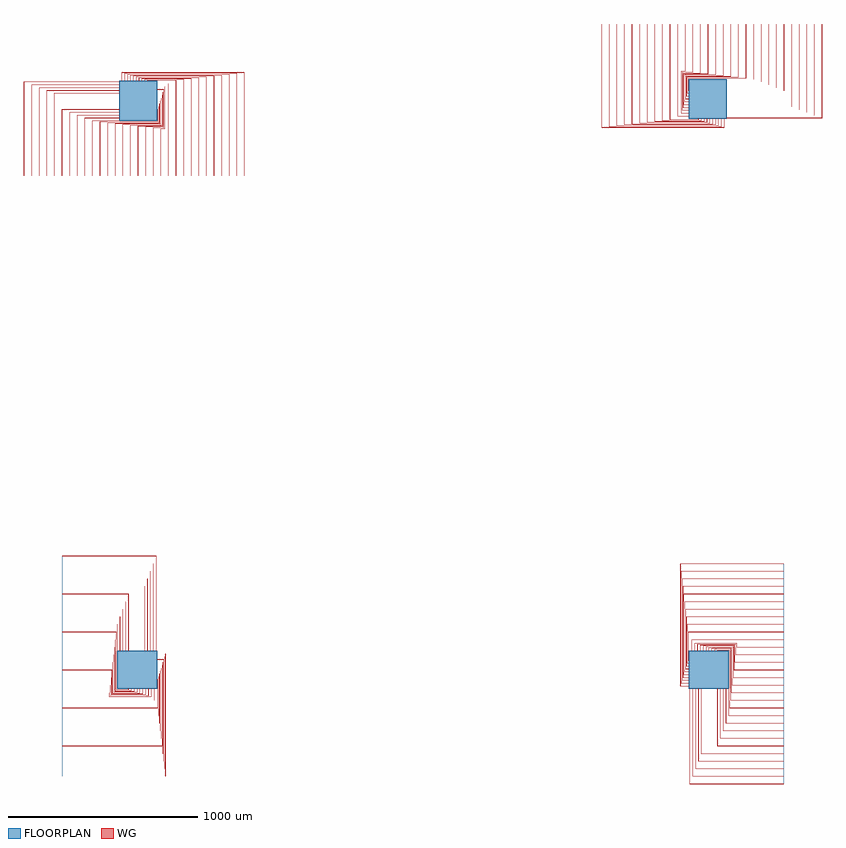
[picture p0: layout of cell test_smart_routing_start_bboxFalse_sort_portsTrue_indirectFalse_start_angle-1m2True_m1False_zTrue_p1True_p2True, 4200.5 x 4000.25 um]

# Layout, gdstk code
import gdstk
lib = gdstk.Library(unit=1e-6, precision=1e-09)
def R(c, l, rs):  # rectangles x0, y0, x1, y1
    for r in rs: c.add(gdstk.rectangle(r[:2], r[2:], *l))
def P(c, l, *ps):  # polygons
    for p in ps: c.add(gdstk.Polygon(p, *l))
WG = (1, 0)
FLOORPLAN = (10, 0)

test_smart_routing_start = lib.new_cell('test_smart_routing_start_bboxFalse_sort_portsTrue_indirectFalse_start_angle-1m2True_m1False_zTrue_p1True_p2True')
P(test_smart_routing_start, WG, [(3100,2905.05),(3100,2905.25),(3599.75,2905.25),(3599.75,3400),(3599.95,3400),(3599.95,2905.05)],
  [(3100,2904.75),(3100,2904.95),(3600.05,2904.95),(3600.05,3400),(3600.25,3400),(3600.25,2904.75)],
  [(3100,2920.05),(3100,2920.25),(3559.75,2920.25),(3559.75,3400),(3559.95,3400),(3559.95,2920.05)],
  [(3100,2919.75),(3100,2919.95),(3560.05,2919.95),(3560.05,3400),(3560.25,3400),(3560.25,2919.75)],
  [(3100,2935.05),(3100,2935.25),(3519.75,2935.25),(3519.75,3400),(3519.95,3400),(3519.95,2935.05)],
  [(3100,2934.75),(3100,2934.95),(3520.05,2934.95),(3520.05,3400),(3520.25,3400),(3520.25,2934.75)],
  [(3100,2950.05),(3100,2950.25),(3479.75,2950.25),(3479.75,3400),(3479.95,3400),(3479.95,2950.05)],
  [(3100,2949.75),(3100,2949.95),(3480.05,2949.95),(3480.05,3400),(3480.25,3400),(3480.25,2949.75)],
  [(3100,2965.05),(3100,2965.25),(3439.75,2965.25),(3439.75,3400),(3439.95,3400),(3439.95,2965.05)],
  [(3100,2964.75),(3100,2964.95),(3440.05,2964.95),(3440.05,3400),(3440.25,3400),(3440.25,2964.75)],
  [(3100,3050.05),(3100,3050.25),(3399.75,3050.25),(3399.75,3400),(3399.95,3400),(3399.95,3050.05)],
  [(3100,3049.75),(3100,3049.95),(3400.05,3049.95),(3400.05,3400),(3400.25,3400),(3400.25,3049.75)],
  [(3100,3065.05),(3100,3065.25),(3359.75,3065.25),(3359.75,3400),(3359.95,3400),(3359.95,3065.05)],
  [(3100,3064.75),(3100,3064.95),(3360.05,3064.95),(3360.05,3400),(3360.25,3400),(3360.25,3064.75)],
  [(3100,3080.05),(3100,3080.25),(3319.75,3080.25),(3319.75,3400),(3319.95,3400),(3319.95,3080.05)],
  [(3100,3079.75),(3100,3079.95),(3320.05,3079.95),(3320.05,3400),(3320.25,3400),(3320.25,3079.75)],
  [(3100,3095.05),(3100,3095.25),(3279.75,3095.25),(3279.75,3400),(3279.95,3400),(3279.95,3095.05)],
  [(3100,3094.75),(3100,3094.95),(3280.05,3094.95),(3280.05,3400),(3280.25,3400),(3280.25,3094.75)],
  [(3100,3110.05),(3100,3110.25),(3239.75,3110.25),(3239.75,3400),(3239.95,3400),(3239.95,3110.05)],
  [(3100,3109.75),(3100,3109.95),(3240.05,3109.95),(3240.05,3400),(3240.25,3400),(3240.25,3109.75)],
  [(2895.5,3049.75),(2895.5,3114.75),(3199.75,3114.75),(3199.75,3400),(3199.95,3400),(3199.95,3114.55),(2895.7,3114.55),(2895.7,3049.95),(2900,3049.95),(2900,3049.75)],
  [(2895.8,3050.05),(2895.8,3114.45),(3200.05,3114.45),(3200.05,3400),(3200.25,3400),(3200.25,3114.25),(2896,3114.25),(2896,3050.25),(2900,3050.25),(2900,3050.05)],
  [(2891,3034.75),(2891,3119.25),(3159.75,3119.25),(3159.75,3400),(3159.95,3400),(3159.95,3119.05),(2891.2,3119.05),(2891.2,3034.95),(2900,3034.95),(2900,3034.75)],
  [(2891.3,3035.05),(2891.3,3118.95),(3160.05,3118.95),(3160.05,3400),(3160.25,3400),(3160.25,3118.75),(2891.5,3118.75),(2891.5,3035.25),(2900,3035.25),(2900,3035.05)],
  [(2886.5,3019.75),(2886.5,3123.75),(3119.75,3123.75),(3119.75,3400),(3119.95,3400),(3119.95,3123.55),(2886.7,3123.55),(2886.7,3019.95),(2900,3019.95),(2900,3019.75)],
  [(2886.8,3020.05),(2886.8,3123.45),(3120.05,3123.45),(3120.05,3400),(3120.25,3400),(3120.25,3123.25),(2887,3123.25),(2887,3020.25),(2900,3020.25),(2900,3020.05)],
  [(2882,3004.75),(2882,3128.25),(3079.75,3128.25),(3079.75,3400),(3079.95,3400),(3079.95,3128.05),(2882.2,3128.05),(2882.2,3004.95),(2900,3004.95),(2900,3004.75)],
  [(2882.3,3005.05),(2882.3,3127.95),(3080.05,3127.95),(3080.05,3400),(3080.25,3400),(3080.25,3127.75),(2882.5,3127.75),(2882.5,3005.25),(2900,3005.25),(2900,3005.05)],
  [(2877.5,2989.75),(2877.5,3132.75),(3039.75,3132.75),(3039.75,3400),(3039.95,3400),(3039.95,3132.55),(2877.7,3132.55),(2877.7,2989.95),(2900,2989.95),(2900,2989.75)],
  [(2877.8,2990.05),(2877.8,3132.45),(3040.05,3132.45),(3040.05,3400),(3040.25,3400),(3040.25,3132.25),(2878,3132.25),(2878,2990.25),(2900,2990.25),(2900,2990.05)],
  [(2873,2974.75),(2873,3137.25),(2999.75,3137.25),(2999.75,3400),(2999.95,3400),(2999.95,3137.05),(2873.2,3137.05),(2873.2,2974.95),(2900,2974.95),(2900,2974.75)],
  [(2873.3,2975.05),(2873.3,3136.95),(3000.05,3136.95),(3000.05,3400),(3000.25,3400),(3000.25,3136.75),(2873.5,3136.75),(2873.5,2975.25),(2900,2975.25),(2900,2975.05)],
  [(2868.5,2959.75),(2868.5,3141.75),(2959.75,3141.75),(2959.75,3400),(2959.95,3400),(2959.95,3141.55),(2868.7,3141.55),(2868.7,2959.95),(2900,2959.95),(2900,2959.75)],
  [(2868.8,2960.05),(2868.8,3141.45),(2960.05,3141.45),(2960.05,3400),(2960.25,3400),(2960.25,3141.25),(2869,3141.25),(2869,2960.25),(2900,2960.25),(2900,2960.05)],
  [(2864,2944.75),(2864,3146.25),(2919.75,3146.25),(2919.75,3400),(2919.95,3400),(2919.95,3146.05),(2864.2,3146.05),(2864.2,2944.95),(2900,2944.95),(2900,2944.75)],
  [(2864.3,2945.05),(2864.3,3145.95),(2920.05,3145.95),(2920.05,3400),(2920.25,3400),(2920.25,3145.75),(2864.5,3145.75),(2864.5,2945.25),(2900,2945.25),(2900,2945.05)],
  [(2859.5,2929.75),(2859.5,3150.75),(2879.75,3150.75),(2879.75,3400),(2879.95,3400),(2879.95,3150.55),(2859.7,3150.55),(2859.7,2929.95),(2900,2929.95),(2900,2929.75)],
  [(2859.8,2930.05),(2859.8,3150.45),(2880.05,3150.45),(2880.05,3400),(2880.25,3400),(2880.25,3150.25),(2860,3150.25),(2860,2930.25),(2900,2930.25),(2900,2930.05)],
  [(2839.75,2914.75),(2839.75,3400),(2839.95,3400),(2839.95,2914.95),(2900,2914.95),(2900,2914.75)],
  [(2840.05,2915.05),(2840.05,3400),(2840.25,3400),(2840.25,2915.25),(2900,2915.25),(2900,2915.05)],
  [(2799.75,2895.5),(2799.75,3400),(2799.95,3400),(2799.95,2895.7),(2950.05,2895.7),(2950.05,2900),(2950.25,2900),(2950.25,2895.5)],
  [(2800.05,2895.8),(2800.05,3400),(2800.25,3400),(2800.25,2896),(2949.75,2896),(2949.75,2900),(2949.95,2900),(2949.95,2895.8)],
  [(2759.75,2891),(2759.75,3400),(2759.95,3400),(2759.95,2891.2),(2965.05,2891.2),(2965.05,2900),(2965.25,2900),(2965.25,2891)],
  [(2760.05,2891.3),(2760.05,3400),(2760.25,3400),(2760.25,2891.5),(2964.75,2891.5),(2964.75,2900),(2964.95,2900),(2964.95,2891.3)],
  [(2719.75,2886.5),(2719.75,3400),(2719.95,3400),(2719.95,2886.7),(2980.05,2886.7),(2980.05,2900),(2980.25,2900),(2980.25,2886.5)],
  [(2720.05,2886.8),(2720.05,3400),(2720.25,3400),(2720.25,2887),(2979.75,2887),(2979.75,2900),(2979.95,2900),(2979.95,2886.8)],
  [(2679.75,2882),(2679.75,3400),(2679.95,3400),(2679.95,2882.2),(2995.05,2882.2),(2995.05,2900),(2995.25,2900),(2995.25,2882)],
  [(2680.05,2882.3),(2680.05,3400),(2680.25,3400),(2680.25,2882.5),(2994.75,2882.5),(2994.75,2900),(2994.95,2900),(2994.95,2882.3)],
  [(2639.75,2877.5),(2639.75,3400),(2639.95,3400),(2639.95,2877.7),(3010.05,2877.7),(3010.05,2900),(3010.25,2900),(3010.25,2877.5)],
  [(2640.05,2877.8),(2640.05,3400),(2640.25,3400),(2640.25,2878),(3009.75,2878),(3009.75,2900),(3009.95,2900),(3009.95,2877.8)],
  [(2599.75,2873),(2599.75,3400),(2599.95,3400),(2599.95,2873.2),(3025.05,2873.2),(3025.05,2900),(3025.25,2900),(3025.25,2873)],
  [(2600.05,2873.3),(2600.05,3400),(2600.25,3400),(2600.25,2873.5),(3024.75,2873.5),(3024.75,2900),(3024.95,2900),(3024.95,2873.3)],
  [(2559.75,2868.5),(2559.75,3400),(2559.95,3400),(2559.95,2868.7),(3040.05,2868.7),(3040.05,2900),(3040.25,2900),(3040.25,2868.5)],
  [(2560.05,2868.8),(2560.05,3400),(2560.25,3400),(2560.25,2869),(3039.75,2869),(3039.75,2900),(3039.95,2900),(3039.95,2868.8)],
  [(2519.75,2864),(2519.75,3400),(2519.95,3400),(2519.95,2864.2),(3055.05,2864.2),(3055.05,2900),(3055.25,2900),(3055.25,2864)],
  [(2520.05,2864.3),(2520.05,3400),(2520.25,3400),(2520.25,2864.5),(3054.75,2864.5),(3054.75,2900),(3054.95,2900),(3054.95,2864.3)],
  [(2479.75,2859.5),(2479.75,3400),(2479.95,3400),(2479.95,2859.7),(3070.05,2859.7),(3070.05,2900),(3070.25,2900),(3070.25,2859.5)],
  [(2480.05,2859.8),(2480.05,3400),(2480.25,3400),(2480.25,2860),(3069.75,2860),(3069.75,2900),(3069.95,2900),(3069.95,2859.8)],
  [(2439.75,2855),(2439.75,3400),(2439.95,3400),(2439.95,2855.2),(3085.05,2855.2),(3085.05,2900),(3085.25,2900),(3085.25,2855)],
  [(2440.05,2855.3),(2440.05,3400),(2440.25,3400),(2440.25,2855.5),(3084.75,2855.5),(3084.75,2900),(3084.95,2900),(3084.95,2855.3)],
  [(-599.95,2600),(-599.95,3094.95),(-100,3094.95),(-100,3094.75),(-599.75,3094.75),(-599.75,2600)],
  [(-600.25,2600),(-600.25,3095.25),(-100,3095.25),(-100,3095.05),(-600.05,3095.05),(-600.05,2600)],
  [(-559.95,2600),(-559.95,3079.95),(-100,3079.95),(-100,3079.75),(-559.75,3079.75),(-559.75,2600)],
  [(-560.25,2600),(-560.25,3080.25),(-100,3080.25),(-100,3080.05),(-560.05,3080.05),(-560.05,2600)],
  [(-519.95,2600),(-519.95,3064.95),(-100,3064.95),(-100,3064.75),(-519.75,3064.75),(-519.75,2600)],
  [(-520.25,2600),(-520.25,3065.25),(-100,3065.25),(-100,3065.05),(-520.05,3065.05),(-520.05,2600)],
  [(-479.95,2600),(-479.95,3049.95),(-100,3049.95),(-100,3049.75),(-479.75,3049.75),(-479.75,2600)],
  [(-480.25,2600),(-480.25,3050.25),(-100,3050.25),(-100,3050.05),(-480.05,3050.05),(-480.05,2600)],
  [(-439.95,2600),(-439.95,3034.95),(-100,3034.95),(-100,3034.75),(-439.75,3034.75),(-439.75,2600)],
  [(-440.25,2600),(-440.25,3035.25),(-100,3035.25),(-100,3035.05),(-440.05,3035.05),(-440.05,2600)],
  [(-399.95,2600),(-399.95,2949.95),(-100,2949.95),(-100,2949.75),(-399.75,2949.75),(-399.75,2600)],
  [(-400.25,2600),(-400.25,2950.25),(-100,2950.25),(-100,2950.05),(-400.05,2950.05),(-400.05,2600)],
  [(-359.95,2600),(-359.95,2934.95),(-100,2934.95),(-100,2934.75),(-359.75,2934.75),(-359.75,2600)],
  [(-360.25,2600),(-360.25,2935.25),(-100,2935.25),(-100,2935.05),(-360.05,2935.05),(-360.05,2600)],
  [(-319.95,2600),(-319.95,2919.95),(-100,2919.95),(-100,2919.75),(-319.75,2919.75),(-319.75,2600)],
  [(-320.25,2600),(-320.25,2920.25),(-100,2920.25),(-100,2920.05),(-320.05,2920.05),(-320.05,2600)],
  [(-279.95,2600),(-279.95,2904.95),(-100,2904.95),(-100,2904.75),(-279.75,2904.75),(-279.75,2600)],
  [(-280.25,2600),(-280.25,2905.25),(-100,2905.25),(-100,2905.05),(-280.05,2905.05),(-280.05,2600)],
  [(-239.95,2600),(-239.95,2889.95),(-100,2889.95),(-100,2889.75),(-239.75,2889.75),(-239.75,2600)],
  [(-240.25,2600),(-240.25,2890.25),(-100,2890.25),(-100,2890.05),(-240.05,2890.05),(-240.05,2600)],
  [(-200.25,2600),(-200.25,2885.75),(104,2885.75),(104,2949.75),(100,2949.75),(100,2949.95),(104.2,2949.95),(104.2,2885.55),(-200.05,2885.55),(-200.05,2600)],
  [(-199.95,2600),(-199.95,2885.45),(104.3,2885.45),(104.3,2950.05),(100,2950.05),(100,2950.25),(104.5,2950.25),(104.5,2885.25),(-199.75,2885.25),(-199.75,2600)],
  [(-160.25,2600),(-160.25,2881.25),(108.5,2881.25),(108.5,2964.75),(100,2964.75),(100,2964.95),(108.7,2964.95),(108.7,2881.05),(-160.05,2881.05),(-160.05,2600)],
  [(-159.95,2600),(-159.95,2880.95),(108.8,2880.95),(108.8,2965.05),(100,2965.05),(100,2965.25),(109,2965.25),(109,2880.75),(-159.75,2880.75),(-159.75,2600)],
  [(-120.25,2600),(-120.25,2876.75),(113,2876.75),(113,2979.75),(100,2979.75),(100,2979.95),(113.2,2979.95),(113.2,2876.55),(-120.05,2876.55),(-120.05,2600)],
  [(-119.95,2600),(-119.95,2876.45),(113.3,2876.45),(113.3,2980.05),(100,2980.05),(100,2980.25),(113.5,2980.25),(113.5,2876.25),(-119.75,2876.25),(-119.75,2600)],
  [(-80.25,2600),(-80.25,2872.25),(117.5,2872.25),(117.5,2994.75),(100,2994.75),(100,2994.95),(117.7,2994.95),(117.7,2872.05),(-80.05,2872.05),(-80.05,2600)],
  [(-79.95,2600),(-79.95,2871.95),(117.8,2871.95),(117.8,2995.05),(100,2995.05),(100,2995.25),(118,2995.25),(118,2871.75),(-79.75,2871.75),(-79.75,2600)],
  [(-40.25,2600),(-40.25,2867.75),(122,2867.75),(122,3009.75),(100,3009.75),(100,3009.95),(122.2,3009.95),(122.2,2867.55),(-40.05,2867.55),(-40.05,2600)],
  [(-39.95,2600),(-39.95,2867.45),(122.3,2867.45),(122.3,3010.05),(100,3010.05),(100,3010.25),(122.5,3010.25),(122.5,2867.25),(-39.75,2867.25),(-39.75,2600)],
  [(-0.25,2600),(-0.25,2863.25),(126.5,2863.25),(126.5,3024.75),(100,3024.75),(100,3024.95),(126.7,3024.95),(126.7,2863.05),(-0.05,2863.05),(-0.05,2600)],
  [(0.05,2600),(0.05,2862.95),(126.8,2862.95),(126.8,3025.05),(100,3025.05),(100,3025.25),(127,3025.25),(127,2862.75),(0.25,2862.75),(0.25,2600)],
  [(39.75,2600),(39.75,2858.75),(131,2858.75),(131,3039.75),(100,3039.75),(100,3039.95),(131.2,3039.95),(131.2,2858.55),(39.95,2858.55),(39.95,2600)],
  [(40.05,2600),(40.05,2858.45),(131.3,2858.45),(131.3,3040.05),(100,3040.05),(100,3040.25),(131.5,3040.25),(131.5,2858.25),(40.25,2858.25),(40.25,2600)],
  [(79.75,2600),(79.75,2854.25),(135.5,2854.25),(135.5,3054.75),(100,3054.75),(100,3054.95),(135.7,3054.95),(135.7,2854.05),(79.95,2854.05),(79.95,2600)],
  [(80.05,2600),(80.05,2853.95),(135.8,2853.95),(135.8,3055.05),(100,3055.05),(100,3055.25),(136,3055.25),(136,2853.75),(80.25,2853.75),(80.25,2600)],
  [(119.75,2600),(119.75,2849.75),(140,2849.75),(140,3069.75),(100,3069.75),(100,3069.95),(140.2,3069.95),(140.2,2849.55),(119.95,2849.55),(119.95,2600)],
  [(120.05,2600),(120.05,2849.45),(140.3,2849.45),(140.3,3070.05),(100,3070.05),(100,3070.25),(140.5,3070.25),(140.5,2849.25),(120.25,2849.25),(120.25,2600)],
  [(159.75,2600),(159.75,3084.75),(100,3084.75),(100,3084.95),(159.95,3084.95),(159.95,2600)],
  [(160.05,2600),(160.05,3085.05),(100,3085.05),(100,3085.25),(160.25,3085.25),(160.25,2600)],
  [(199.75,2600),(199.75,3104),(50.25,3104),(50.25,3100),(50.05,3100),(50.05,3104.2),(199.95,3104.2),(199.95,2600)],
  [(200.05,2600),(200.05,3104.3),(49.95,3104.3),(49.95,3100),(49.75,3100),(49.75,3104.5),(200.25,3104.5),(200.25,2600)],
  [(239.75,2600),(239.75,3108.5),(35.25,3108.5),(35.25,3100),(35.05,3100),(35.05,3108.7),(239.95,3108.7),(239.95,2600)],
  [(240.05,2600),(240.05,3108.8),(34.95,3108.8),(34.95,3100),(34.75,3100),(34.75,3109),(240.25,3109),(240.25,2600)],
  [(279.75,2600),(279.75,3113),(20.25,3113),(20.25,3100),(20.05,3100),(20.05,3113.2),(279.95,3113.2),(279.95,2600)],
  [(280.05,2600),(280.05,3113.3),(19.95,3113.3),(19.95,3100),(19.75,3100),(19.75,3113.5),(280.25,3113.5),(280.25,2600)],
  [(319.75,2600),(319.75,3117.5),(5.25,3117.5),(5.25,3100),(5.05,3100),(5.05,3117.7),(319.95,3117.7),(319.95,2600)],
  [(320.05,2600),(320.05,3117.8),(4.95,3117.8),(4.95,3100),(4.75,3100),(4.75,3118),(320.25,3118),(320.25,2600)],
  [(359.75,2600),(359.75,3122),(-9.75,3122),(-9.75,3100),(-9.95,3100),(-9.95,3122.2),(359.95,3122.2),(359.95,2600)],
  [(360.05,2600),(360.05,3122.3),(-10.05,3122.3),(-10.05,3100),(-10.25,3100),(-10.25,3122.5),(360.25,3122.5),(360.25,2600)],
  [(399.75,2600),(399.75,3126.5),(-24.75,3126.5),(-24.75,3100),(-24.95,3100),(-24.95,3126.7),(399.95,3126.7),(399.95,2600)],
  [(400.05,2600),(400.05,3126.8),(-25.05,3126.8),(-25.05,3100),(-25.25,3100),(-25.25,3127),(400.25,3127),(400.25,2600)],
  [(439.75,2600),(439.75,3131),(-39.75,3131),(-39.75,3100),(-39.95,3100),(-39.95,3131.2),(439.95,3131.2),(439.95,2600)],
  [(440.05,2600),(440.05,3131.3),(-40.05,3131.3),(-40.05,3100),(-40.25,3100),(-40.25,3131.5),(440.25,3131.5),(440.25,2600)],
  [(479.75,2600),(479.75,3135.5),(-54.75,3135.5),(-54.75,3100),(-54.95,3100),(-54.95,3135.7),(479.95,3135.7),(479.95,2600)],
  [(480.05,2600),(480.05,3135.8),(-55.05,3135.8),(-55.05,3100),(-55.25,3100),(-55.25,3136),(480.25,3136),(480.25,2600)],
  [(519.75,2600),(519.75,3140),(-69.75,3140),(-69.75,3100),(-69.95,3100),(-69.95,3140.2),(519.95,3140.2),(519.95,2600)],
  [(520.05,2600),(520.05,3140.3),(-70.05,3140.3),(-70.05,3100),(-70.25,3100),(-70.25,3140.5),(520.25,3140.5),(520.25,2600)],
  [(559.75,2600),(559.75,3144.5),(-84.75,3144.5),(-84.75,3100),(-84.95,3100),(-84.95,3144.7),(559.95,3144.7),(559.95,2600)],
  [(560.05,2600),(560.05,3144.8),(-85.05,3144.8),(-85.05,3100),(-85.25,3100),(-85.25,3145),(560.25,3145),(560.25,2600)],
  [(94.75,100),(94.75,599.75),(-400,599.75),(-400,599.95),(94.95,599.95),(94.95,100)],
  [(95.05,100),(95.05,600.05),(-400,600.05),(-400,600.25),(95.25,600.25),(95.25,100)],
  [(79.75,100),(79.75,559.75),(-400,559.75),(-400,559.95),(79.95,559.95),(79.95,100)],
  [(80.05,100),(80.05,560.05),(-400,560.05),(-400,560.25),(80.25,560.25),(80.25,100)],
  [(64.75,100),(64.75,519.75),(-400,519.75),(-400,519.95),(64.95,519.95),(64.95,100)],
  [(65.05,100),(65.05,520.05),(-400,520.05),(-400,520.25),(65.25,520.25),(65.25,100)],
  [(49.75,100),(49.75,479.75),(-400,479.75),(-400,479.95),(49.95,479.95),(49.95,100)],
  [(50.05,100),(50.05,480.05),(-400,480.05),(-400,480.25),(50.25,480.25),(50.25,100)],
  [(34.75,100),(34.75,439.75),(-400,439.75),(-400,439.95),(34.95,439.95),(34.95,100)],
  [(35.05,100),(35.05,440.05),(-400,440.05),(-400,440.25),(35.25,440.25),(35.25,100)],
  [(-50.25,100),(-50.25,399.75),(-400,399.75),(-400,399.95),(-50.05,399.95),(-50.05,100)],
  [(-49.95,100),(-49.95,400.05),(-400,400.05),(-400,400.25),(-49.75,400.25),(-49.75,100)],
  [(-65.25,100),(-65.25,359.75),(-400,359.75),(-400,359.95),(-65.05,359.95),(-65.05,100)],
  [(-64.95,100),(-64.95,360.05),(-400,360.05),(-400,360.25),(-64.75,360.25),(-64.75,100)],
  [(-80.25,100),(-80.25,319.75),(-400,319.75),(-400,319.95),(-80.05,319.95),(-80.05,100)],
  [(-79.95,100),(-79.95,320.05),(-400,320.05),(-400,320.25),(-79.75,320.25),(-79.75,100)],
  [(-95.25,100),(-95.25,279.75),(-400,279.75),(-400,279.95),(-95.05,279.95),(-95.05,100)],
  [(-94.95,100),(-94.95,280.05),(-400,280.05),(-400,280.25),(-94.75,280.25),(-94.75,100)],
  [(-110.25,100),(-110.25,239.75),(-400,239.75),(-400,239.95),(-110.05,239.95),(-110.05,100)],
  [(-109.95,100),(-109.95,240.05),(-400,240.05),(-400,240.25),(-109.75,240.25),(-109.75,100)],
  [(-114.75,-104.5),(-114.75,199.75),(-400,199.75),(-400,199.95),(-114.55,199.95),(-114.55,-104.3),(-49.95,-104.3),(-49.95,-100),(-49.75,-100),(-49.75,-104.5)],
  [(-114.45,-104.2),(-114.45,200.05),(-400,200.05),(-400,200.25),(-114.25,200.25),(-114.25,-104),(-50.25,-104),(-50.25,-100),(-50.05,-100),(-50.05,-104.2)],
  [(-119.25,-109),(-119.25,159.75),(-400,159.75),(-400,159.95),(-119.05,159.95),(-119.05,-108.8),(-34.95,-108.8),(-34.95,-100),(-34.75,-100),(-34.75,-109)],
  [(-118.95,-108.7),(-118.95,160.05),(-400,160.05),(-400,160.25),(-118.75,160.25),(-118.75,-108.5),(-35.25,-108.5),(-35.25,-100),(-35.05,-100),(-35.05,-108.7)],
  [(-123.75,-113.5),(-123.75,119.75),(-400,119.75),(-400,119.95),(-123.55,119.95),(-123.55,-113.3),(-19.95,-113.3),(-19.95,-100),(-19.75,-100),(-19.75,-113.5)],
  [(-123.45,-113.2),(-123.45,120.05),(-400,120.05),(-400,120.25),(-123.25,120.25),(-123.25,-113),(-20.25,-113),(-20.25,-100),(-20.05,-100),(-20.05,-113.2)],
  [(-128.25,-118),(-128.25,79.75),(-400,79.75),(-400,79.95),(-128.05,79.95),(-128.05,-117.8),(-4.95,-117.8),(-4.95,-100),(-4.75,-100),(-4.75,-118)],
  [(-127.95,-117.7),(-127.95,80.05),(-400,80.05),(-400,80.25),(-127.75,80.25),(-127.75,-117.5),(-5.25,-117.5),(-5.25,-100),(-5.05,-100),(-5.05,-117.7)],
  [(-132.75,-122.5),(-132.75,39.75),(-400,39.75),(-400,39.95),(-132.55,39.95),(-132.55,-122.3),(10.05,-122.3),(10.05,-100),(10.25,-100),(10.25,-122.5)],
  [(-132.45,-122.2),(-132.45,40.05),(-400,40.05),(-400,40.25),(-132.25,40.25),(-132.25,-122),(9.75,-122),(9.75,-100),(9.95,-100),(9.95,-122.2)],
  [(-137.25,-127),(-137.25,-0.25),(-400,-0.25),(-400,-0.05),(-137.05,-0.05),(-137.05,-126.8),(25.05,-126.8),(25.05,-100),(25.25,-100),(25.25,-127)],
  [(-136.95,-126.7),(-136.95,0.05),(-400,0.05),(-400,0.25),(-136.75,0.25),(-136.75,-126.5),(24.75,-126.5),(24.75,-100),(24.95,-100),(24.95,-126.7)],
  [(-141.75,-131.5),(-141.75,-40.25),(-400,-40.25),(-400,-40.05),(-141.55,-40.05),(-141.55,-131.3),(40.05,-131.3),(40.05,-100),(40.25,-100),(40.25,-131.5)],
  [(-141.45,-131.2),(-141.45,-39.95),(-400,-39.95),(-400,-39.75),(-141.25,-39.75),(-141.25,-131),(39.75,-131),(39.75,-100),(39.95,-100),(39.95,-131.2)],
  [(-146.25,-136),(-146.25,-80.25),(-400,-80.25),(-400,-80.05),(-146.05,-80.05),(-146.05,-135.8),(55.05,-135.8),(55.05,-100),(55.25,-100),(55.25,-136)],
  [(-145.95,-135.7),(-145.95,-79.95),(-400,-79.95),(-400,-79.75),(-145.75,-79.75),(-145.75,-135.5),(54.75,-135.5),(54.75,-100),(54.95,-100),(54.95,-135.7)],
  [(-150.45,-140.2),(-150.45,-119.95),(-400,-119.95),(-400,-119.75),(-150.25,-119.75),(-150.25,-140),(69.75,-140),(69.75,-100),(69.95,-100),(69.95,-140.2)],
  [(-150.75,-140.5),(-150.75,-120.25),(-400,-120.25),(-400,-120.05),(-150.55,-120.05),(-150.55,-140.3),(70.05,-140.3),(70.05,-100),(70.25,-100),(70.25,-140.5)],
  [(-400,-159.95),(-400,-159.75),(84.75,-159.75),(84.75,-100),(84.95,-100),(84.95,-159.95)],
  [(-400,-160.25),(-400,-160.05),(85.05,-160.05),(85.05,-100),(85.25,-100),(85.25,-160.25)],
  [(-400,-199.95),(-400,-199.75),(104,-199.75),(104,-50.25),(100,-50.25),(100,-50.05),(104.2,-50.05),(104.2,-199.95)],
  [(-400,-200.25),(-400,-200.05),(104.3,-200.05),(104.3,-49.95),(100,-49.95),(100,-49.75),(104.5,-49.75),(104.5,-200.25)],
  [(-400,-239.95),(-400,-239.75),(108.5,-239.75),(108.5,-35.25),(100,-35.25),(100,-35.05),(108.7,-35.05),(108.7,-239.95)],
  [(-400,-240.25),(-400,-240.05),(108.8,-240.05),(108.8,-34.95),(100,-34.95),(100,-34.75),(109,-34.75),(109,-240.25)],
  [(-400,-279.95),(-400,-279.75),(113,-279.75),(113,-20.25),(100,-20.25),(100,-20.05),(113.2,-20.05),(113.2,-279.95)],
  [(-400,-280.25),(-400,-280.05),(113.3,-280.05),(113.3,-19.95),(100,-19.95),(100,-19.75),(113.5,-19.75),(113.5,-280.25)],
  [(-400,-319.95),(-400,-319.75),(117.5,-319.75),(117.5,-5.25),(100,-5.25),(100,-5.05),(117.7,-5.05),(117.7,-319.95)],
  [(-400,-320.25),(-400,-320.05),(117.8,-320.05),(117.8,-4.95),(100,-4.95),(100,-4.75),(118,-4.75),(118,-320.25)],
  [(-400,-359.95),(-400,-359.75),(122,-359.75),(122,9.75),(100,9.75),(100,9.95),(122.2,9.95),(122.2,-359.95)],
  [(-400,-360.25),(-400,-360.05),(122.3,-360.05),(122.3,10.05),(100,10.05),(100,10.25),(122.5,10.25),(122.5,-360.25)],
  [(-400,-399.95),(-400,-399.75),(126.5,-399.75),(126.5,24.75),(100,24.75),(100,24.95),(126.7,24.95),(126.7,-399.95)],
  [(-400,-400.25),(-400,-400.05),(126.8,-400.05),(126.8,25.05),(100,25.05),(100,25.25),(127,25.25),(127,-400.25)],
  [(-400,-439.95),(-400,-439.75),(131,-439.75),(131,39.75),(100,39.75),(100,39.95),(131.2,39.95),(131.2,-439.95)],
  [(-400,-440.25),(-400,-440.05),(131.3,-440.05),(131.3,40.05),(100,40.05),(100,40.25),(131.5,40.25),(131.5,-440.25)],
  [(-400,-479.95),(-400,-479.75),(135.5,-479.75),(135.5,54.75),(100,54.75),(100,54.95),(135.7,54.95),(135.7,-479.95)],
  [(-400,-480.25),(-400,-480.05),(135.8,-480.05),(135.8,55.05),(100,55.05),(100,55.25),(136,55.25),(136,-480.25)],
  [(-400,-519.95),(-400,-519.75),(140,-519.75),(140,69.75),(100,69.75),(100,69.95),(140.2,69.95),(140.2,-519.95)],
  [(-400,-520.25),(-400,-520.05),(140.3,-520.05),(140.3,70.05),(100,70.05),(100,70.25),(140.5,70.25),(140.5,-520.25)],
  [(-400,-559.95),(-400,-559.75),(144.5,-559.75),(144.5,84.75),(100,84.75),(100,84.95),(144.7,84.95),(144.7,-559.95)],
  [(-400,-560.25),(-400,-560.05),(144.8,-560.05),(144.8,85.05),(100,85.05),(100,85.25),(145,85.25),(145,-560.25)],
  [(2904.75,-600.25),(2904.75,-100),(2904.95,-100),(2904.95,-600.05),(3400,-600.05),(3400,-600.25)],
  [(2905.05,-599.95),(2905.05,-100),(2905.25,-100),(2905.25,-599.75),(3400,-599.75),(3400,-599.95)],
  [(2919.75,-560.25),(2919.75,-100),(2919.95,-100),(2919.95,-560.05),(3400,-560.05),(3400,-560.25)],
  [(2920.05,-559.95),(2920.05,-100),(2920.25,-100),(2920.25,-559.75),(3400,-559.75),(3400,-559.95)],
  [(2934.75,-520.25),(2934.75,-100),(2934.95,-100),(2934.95,-520.05),(3400,-520.05),(3400,-520.25)],
  [(2935.05,-519.95),(2935.05,-100),(2935.25,-100),(2935.25,-519.75),(3400,-519.75),(3400,-519.95)],
  [(2949.75,-480.25),(2949.75,-100),(2949.95,-100),(2949.95,-480.05),(3400,-480.05),(3400,-480.25)],
  [(2950.05,-479.95),(2950.05,-100),(2950.25,-100),(2950.25,-479.75),(3400,-479.75),(3400,-479.95)],
  [(2964.75,-440.25),(2964.75,-100),(2964.95,-100),(2964.95,-440.05),(3400,-440.05),(3400,-440.25)],
  [(2965.05,-439.95),(2965.05,-100),(2965.25,-100),(2965.25,-439.75),(3400,-439.75),(3400,-439.95)],
  [(3049.75,-400.25),(3049.75,-100),(3049.95,-100),(3049.95,-400.05),(3400,-400.05),(3400,-400.25)],
  [(3050.05,-399.95),(3050.05,-100),(3050.25,-100),(3050.25,-399.75),(3400,-399.75),(3400,-399.95)],
  [(3064.75,-360.25),(3064.75,-100),(3064.95,-100),(3064.95,-360.05),(3400,-360.05),(3400,-360.25)],
  [(3065.05,-359.95),(3065.05,-100),(3065.25,-100),(3065.25,-359.75),(3400,-359.75),(3400,-359.95)],
  [(3079.75,-320.25),(3079.75,-100),(3079.95,-100),(3079.95,-320.05),(3400,-320.05),(3400,-320.25)],
  [(3080.05,-319.95),(3080.05,-100),(3080.25,-100),(3080.25,-319.75),(3400,-319.75),(3400,-319.95)],
  [(3094.75,-280.25),(3094.75,-100),(3094.95,-100),(3094.95,-280.05),(3400,-280.05),(3400,-280.25)],
  [(3095.05,-279.95),(3095.05,-100),(3095.25,-100),(3095.25,-279.75),(3400,-279.75),(3400,-279.95)],
  [(3109.75,-240.25),(3109.75,-100),(3109.95,-100),(3109.95,-240.05),(3400,-240.05),(3400,-240.25)],
  [(3110.05,-239.95),(3110.05,-100),(3110.25,-100),(3110.25,-239.75),(3400,-239.75),(3400,-239.95)],
  [(3114.25,-200.25),(3114.25,104),(3050.25,104),(3050.25,100),(3050.05,100),(3050.05,104.2),(3114.45,104.2),(3114.45,-200.05),(3400,-200.05),(3400,-200.25)],
  [(3114.55,-199.95),(3114.55,104.3),(3049.95,104.3),(3049.95,100),(3049.75,100),(3049.75,104.5),(3114.75,104.5),(3114.75,-199.75),(3400,-199.75),(3400,-199.95)],
  [(3118.75,-160.25),(3118.75,108.5),(3035.25,108.5),(3035.25,100),(3035.05,100),(3035.05,108.7),(3118.95,108.7),(3118.95,-160.05),(3400,-160.05),(3400,-160.25)],
  [(3119.05,-159.95),(3119.05,108.8),(3034.95,108.8),(3034.95,100),(3034.75,100),(3034.75,109),(3119.25,109),(3119.25,-159.75),(3400,-159.75),(3400,-159.95)],
  [(3123.25,-120.25),(3123.25,113),(3020.25,113),(3020.25,100),(3020.05,100),(3020.05,113.2),(3123.45,113.2),(3123.45,-120.05),(3400,-120.05),(3400,-120.25)],
  [(3123.55,-119.95),(3123.55,113.3),(3019.95,113.3),(3019.95,100),(3019.75,100),(3019.75,113.5),(3123.75,113.5),(3123.75,-119.75),(3400,-119.75),(3400,-119.95)],
  [(3127.75,-80.25),(3127.75,117.5),(3005.25,117.5),(3005.25,100),(3005.05,100),(3005.05,117.7),(3127.95,117.7),(3127.95,-80.05),(3400,-80.05),(3400,-80.25)],
  [(3128.05,-79.95),(3128.05,117.8),(3004.95,117.8),(3004.95,100),(3004.75,100),(3004.75,118),(3128.25,118),(3128.25,-79.75),(3400,-79.75),(3400,-79.95)],
  [(3132.25,-40.25),(3132.25,122),(2990.25,122),(2990.25,100),(2990.05,100),(2990.05,122.2),(3132.45,122.2),(3132.45,-40.05),(3400,-40.05),(3400,-40.25)],
  [(3132.55,-39.95),(3132.55,122.3),(2989.95,122.3),(2989.95,100),(2989.75,100),(2989.75,122.5),(3132.75,122.5),(3132.75,-39.75),(3400,-39.75),(3400,-39.95)],
  [(3136.75,-0.25),(3136.75,126.5),(2975.25,126.5),(2975.25,100),(2975.05,100),(2975.05,126.7),(3136.95,126.7),(3136.95,-0.05),(3400,-0.05),(3400,-0.25)],
  [(3137.05,0.05),(3137.05,126.8),(2974.95,126.8),(2974.95,100),(2974.75,100),(2974.75,127),(3137.25,127),(3137.25,0.25),(3400,0.25),(3400,0.05)],
  [(3141.25,39.75),(3141.25,131),(2960.25,131),(2960.25,100),(2960.05,100),(2960.05,131.2),(3141.45,131.2),(3141.45,39.95),(3400,39.95),(3400,39.75)],
  [(3141.55,40.05),(3141.55,131.3),(2959.95,131.3),(2959.95,100),(2959.75,100),(2959.75,131.5),(3141.75,131.5),(3141.75,40.25),(3400,40.25),(3400,40.05)],
  [(3145.75,79.75),(3145.75,135.5),(2945.25,135.5),(2945.25,100),(2945.05,100),(2945.05,135.7),(3145.95,135.7),(3145.95,79.95),(3400,79.95),(3400,79.75)],
  [(3146.05,80.05),(3146.05,135.8),(2944.95,135.8),(2944.95,100),(2944.75,100),(2944.75,136),(3146.25,136),(3146.25,80.25),(3400,80.25),(3400,80.05)],
  [(2930.05,100),(2930.05,140.2),(3150.45,140.2),(3150.45,119.95),(3400,119.95),(3400,119.75),(3150.25,119.75),(3150.25,140),(2930.25,140),(2930.25,100)],
  [(2929.75,100),(2929.75,140.5),(3150.75,140.5),(3150.75,120.25),(3400,120.25),(3400,120.05),(3150.55,120.05),(3150.55,140.3),(2929.95,140.3),(2929.95,100)],
  [(2915.05,100),(2915.05,159.95),(3400,159.95),(3400,159.75),(2915.25,159.75),(2915.25,100)],
  [(2914.75,100),(2914.75,160.25),(3400,160.25),(3400,160.05),(2914.95,160.05),(2914.95,100)],
  [(2895.8,50.05),(2895.8,199.95),(3400,199.95),(3400,199.75),(2896,199.75),(2896,50.25),(2900,50.25),(2900,50.05)],
  [(2895.5,49.75),(2895.5,200.25),(3400,200.25),(3400,200.05),(2895.7,200.05),(2895.7,49.95),(2900,49.95),(2900,49.75)],
  [(2891.3,35.05),(2891.3,239.95),(3400,239.95),(3400,239.75),(2891.5,239.75),(2891.5,35.25),(2900,35.25),(2900,35.05)],
  [(2891,34.75),(2891,240.25),(3400,240.25),(3400,240.05),(2891.2,240.05),(2891.2,34.95),(2900,34.95),(2900,34.75)],
  [(2886.8,20.05),(2886.8,279.95),(3400,279.95),(3400,279.75),(2887,279.75),(2887,20.25),(2900,20.25),(2900,20.05)],
  [(2886.5,19.75),(2886.5,280.25),(3400,280.25),(3400,280.05),(2886.7,280.05),(2886.7,19.95),(2900,19.95),(2900,19.75)],
  [(2882.3,5.05),(2882.3,319.95),(3400,319.95),(3400,319.75),(2882.5,319.75),(2882.5,5.25),(2900,5.25),(2900,5.05)],
  [(2882,4.75),(2882,320.25),(3400,320.25),(3400,320.05),(2882.2,320.05),(2882.2,4.95),(2900,4.95),(2900,4.75)],
  [(2877.8,-9.95),(2877.8,359.95),(3400,359.95),(3400,359.75),(2878,359.75),(2878,-9.75),(2900,-9.75),(2900,-9.95)],
  [(2877.5,-10.25),(2877.5,360.25),(3400,360.25),(3400,360.05),(2877.7,360.05),(2877.7,-10.05),(2900,-10.05),(2900,-10.25)],
  [(2873.3,-24.95),(2873.3,399.95),(3400,399.95),(3400,399.75),(2873.5,399.75),(2873.5,-24.75),(2900,-24.75),(2900,-24.95)],
  [(2873,-25.25),(2873,400.25),(3400,400.25),(3400,400.05),(2873.2,400.05),(2873.2,-25.05),(2900,-25.05),(2900,-25.25)],
  [(2868.8,-39.95),(2868.8,439.95),(3400,439.95),(3400,439.75),(2869,439.75),(2869,-39.75),(2900,-39.75),(2900,-39.95)],
  [(2868.5,-40.25),(2868.5,440.25),(3400,440.25),(3400,440.05),(2868.7,440.05),(2868.7,-40.05),(2900,-40.05),(2900,-40.25)],
  [(2864.3,-54.95),(2864.3,479.95),(3400,479.95),(3400,479.75),(2864.5,479.75),(2864.5,-54.75),(2900,-54.75),(2900,-54.95)],
  [(2864,-55.25),(2864,480.25),(3400,480.25),(3400,480.05),(2864.2,480.05),(2864.2,-55.05),(2900,-55.05),(2900,-55.25)],
  [(2859.8,-69.95),(2859.8,519.95),(3400,519.95),(3400,519.75),(2860,519.75),(2860,-69.75),(2900,-69.75),(2900,-69.95)],
  [(2859.5,-70.25),(2859.5,520.25),(3400,520.25),(3400,520.05),(2859.7,520.05),(2859.7,-70.05),(2900,-70.05),(2900,-70.25)],
  [(2855.3,-84.95),(2855.3,559.95),(3400,559.95),(3400,559.75),(2855.5,559.75),(2855.5,-84.75),(2900,-84.75),(2900,-84.95)],
  [(2855,-85.25),(2855,560.25),(3400,560.25),(3400,560.05),(2855.2,560.05),(2855.2,-85.05),(2900,-85.05),(2900,-85.25)])
R(test_smart_routing_start, FLOORPLAN, [(-110,-100,100,100), (2900,-100,3110,100), (-100,2890,100,3100), (2900,2900,3100,3110)])
P(test_smart_routing_start, FLOORPLAN, [(-400,-560),(-400,600),(-400,600),(-400,-560)],
  [(-600,2600),(-600,2600),(560,2600),(560,2600)],
  [(3400,-600),(3400,560),(3400,560),(3400,-600)],
  [(2440,3400),(2440,3400),(3600,3400),(3600,3400)])

lib.write_gds('test_smart_routing_start_bboxFalse_sort_portsTrue_indirectFalse_start_angle-1m2True_m1False_zTrue_p1True_p2True.gds')
